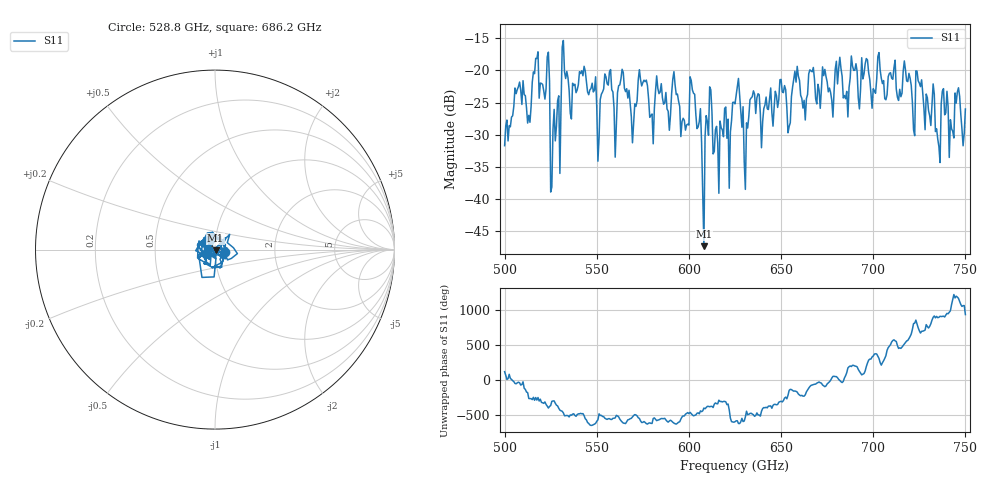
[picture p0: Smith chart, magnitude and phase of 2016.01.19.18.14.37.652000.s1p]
!Created with skrf (http://scikit-rf.org).
# GHz S RI R 50.0
!freq ReS11 ImS11
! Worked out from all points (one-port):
!   401 points, 500 GHz to 750 GHz, reference 50 ohm
!   lowest |S11| = -47.3 dB at 608.1 GHz (marker M1), VSWR 1.01, Z = 50.3 - j0.31 ohm
!   |S11| at or under -10 dB: start of sweep to end of sweep
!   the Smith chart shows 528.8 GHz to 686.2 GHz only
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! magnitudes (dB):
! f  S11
! 500 GHz  -31.7
! 506.9 GHz  -23.0
! 513.1 GHz  -27.0
! 516.9 GHz  -18.1
! 523.1 GHz  -17.9
! 526.2 GHz  -29.2
! 531.2 GHz  -16.3
! 542.5 GHz  -20.8
! 551.2 GHz  -30.4
! 562.5 GHz  -22.2
! 570 GHz  -28.2
! 573.8 GHz  -21.4
! 580 GHz  -26.8
! 593.8 GHz  -23.7
! 598.8 GHz  -28.5
! 601.9 GHz  -23.0
! 608.1 GHz  -47.3
! 610.6 GHz  -30.1
! 615 GHz  -28.7
! 625 GHz  -25.2
! 631.2 GHz  -28.1
! 634.4 GHz  -24.1
! 656.2 GHz  -22.6
! 687.5 GHz  -21.2
! 718.8 GHz  -21.7
! 735 GHz  -30.7
! 738.8 GHz  -26.9
! 750 GHz  -26.0
